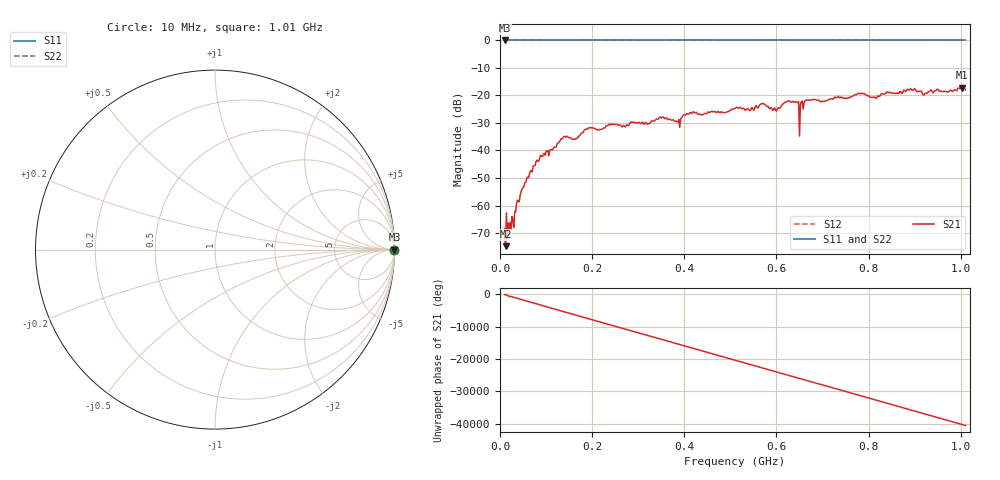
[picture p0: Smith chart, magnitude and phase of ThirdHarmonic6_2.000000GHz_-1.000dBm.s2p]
! 8/17/2025 12:01:55 AM
! C:\ANRITSUVNA\TEMP\TEMP.S2P
! CHANNEL.1
! TR.MEASUREMENT
! RAW.DATA
! RF.CORRECTION.OFF
! AVERAGING.OFF
! IF.BANDWIDTH: 5KHZ
! SWEEPTYPE:  FREQ.SWEEP(Linear)
! Reference Plane Port Info
! PORT:  PORT1  PORT2
! DISTANCE:  0  m  0  m
! TIME:  0  s  0  s
! PHASE.OFFSET:  0  deg.  0  deg.
! LOSS:  0  dB  0  dB
! REF.LOSS:  0  dB  0  dB
! REF.FREQ:  0  Hz  0  Hz
! Power Info
! POWER:  -20  dBm  -20  dBm
! EFF.POWER:  -20  dBm  -20  dBm
! SOURCE.ATTEN:  0  dB  0  dB
! TEST.ATTEN:  0  dB  0  dB
# GHZ S RI R 50.0
! FREQ.GHZ  S11RE  S11IM  S21RE  S21IM  S12RE  S12IM  S22RE  S22IM
!; PortSelection: Port_12
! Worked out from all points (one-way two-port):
!   501 points, 10 MHz to 1.01 GHz, reference 50 ohm
!   highest |S21| = -17.12 dB at 1.002 GHz (marker M1); lowest = -74.8 dB at 12 MHz (marker M2)
!   lowest |S11| = 0.0 dB at 10 MHz (marker M3)
!   |S11| at or under -10 dB: nowhere
!   |S22| runs from 0.0 to 0.0 dB; largest |S21 - S12| = 1.1
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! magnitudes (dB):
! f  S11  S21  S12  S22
! 10 MHz  0.0  -68.5  0.0  0.0
! 12 MHz  0.0  -74.8  0.0  0.0
! 26 MHz  0.0  -64.0  0.0  0.0
! 48 MHz  0.0  -53.9  0.0  0.0
! 76 MHz  0.0  -45.5  0.0  0.0
! 136 MHz  0.0  -35.5  0.0  0.0
! 178 MHz  0.0  -33.6  0.0  0.0
! 344 MHz  0.0  -28.5  0.0  0.0
! 386 MHz  0.0  -29.6  0.0  0.0
! 416 MHz  0.0  -26.6  0.0  0.0
! 510 MHz  0.0  -24.8  0.0  0.0
! 570 MHz  0.0  -22.9  0.0  0.0
! 596 MHz  0.0  -24.5  0.0  0.0
! 626 MHz  0.0  -21.9  0.0  0.0
! 644 MHz  0.0  -22.5  0.0  0.0
! 646 MHz  0.0  -22.5  0.0  0.0
! 654 MHz  0.0  -22.4  0.0  0.0
! 656 MHz  0.0  -22.0  0.0  0.0
! 678 MHz  0.0  -21.5  0.0  0.0
! 844 MHz  0.0  -19.0  0.0  0.0
! 1.002 GHz  0.0  -17.1  0.0  0.0
! 1.01 GHz  0.0  -17.9  0.0  0.0
